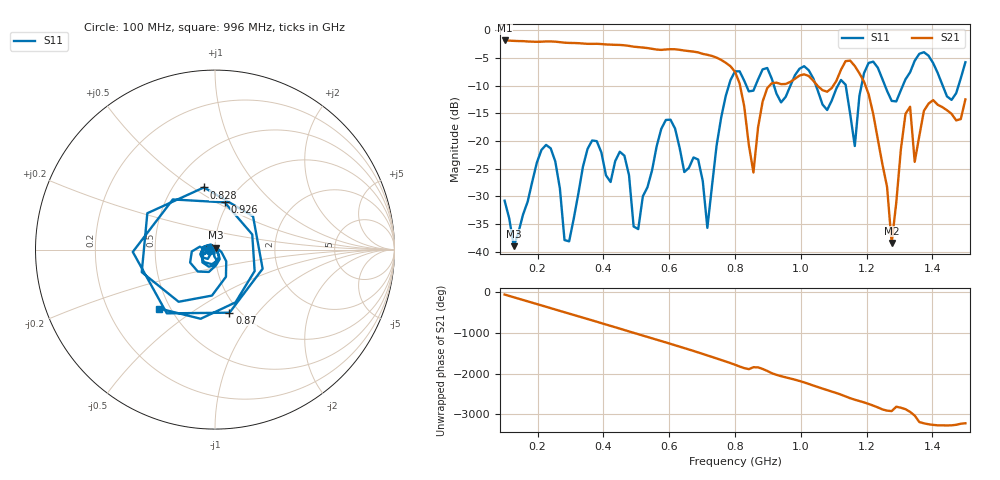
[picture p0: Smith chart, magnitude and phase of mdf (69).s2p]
! NanoVNA-App
! Date: 2025-09-25 15:38:58
! Start: 100MHz Stop: 1,5GHz Points: 101
! S-Parameter data: F S11 S21 S12 S22
# Hz S RI R 50
!  Frequency  S11_Real  S11_Imag  S21_Real  S21_Imag  S12_Real  S12_Imag  S22_Real  S22_Imag
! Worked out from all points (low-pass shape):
!   101 points, 100 MHz to 1.5 GHz, reference 50 ohm
!   highest |S21| = -1.80 dB at 100 MHz (marker M1); lowest = -38.4 dB at 1.276 GHz (marker M2)
!   |S21| within 3 dB of the highest: start of sweep to 739.2 MHz
!   lowest |S11| = -39.0 dB at 128 MHz (marker M3), VSWR 1.02, Z = 50.3 + j1.07 ohm
!   |S11| at or under -10 dB: start of sweep to 781.1 MHz; 918.5 MHz to 968.2 MHz (49.63 MHz wide, 5.26 % of centre); 1.046 GHz to 1.112 GHz (66.33 MHz wide, 6.15 % of centre) (the widest 3 of 7)
!   S12 and S22 are empty: the file has one direction only
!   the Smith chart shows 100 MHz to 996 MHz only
!   S11 on the Smith chart (normalised r, x): 100 MHz: 0.94, -0.01; 828 MHz: 0.70, +0.56; 870 MHz: 0.90, -0.73; 926 MHz: 0.96, +0.55; 996 MHz: 0.44, -0.36
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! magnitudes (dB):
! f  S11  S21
! 100 MHz  -30.8  -1.8
! 128 MHz  -39.0  -1.9
! 212 MHz  -21.6  -2.0
! 282 MHz  -37.9  -2.2
! 338 MHz  -24.6  -2.4
! 464 MHz  -22.6  -2.7
! 506 MHz  -35.9  -3.0
! 576 MHz  -17.8  -3.5
! 716 MHz  -35.7  -4.4
! 800 MHz  -7.4  -7.5
! 828 MHz  -9.1  -13.7
! 856 MHz  -10.9  -25.7
! 870 MHz  -8.9  -17.5
! 926 MHz  -11.4  -9.4
! 996 MHz  -6.9  -8.2
! 1.038 GHz  -8.7  -9.1
! 1.164 GHz  -20.9  -6.4
! 1.192 GHz  -7.7  -9.3
! 1.276 GHz  -12.7  -38.4
! 1.318 GHz  -8.8  -15.1
! 1.346 GHz  -5.5  -23.8
! 1.5 GHz  -5.7  -12.5
